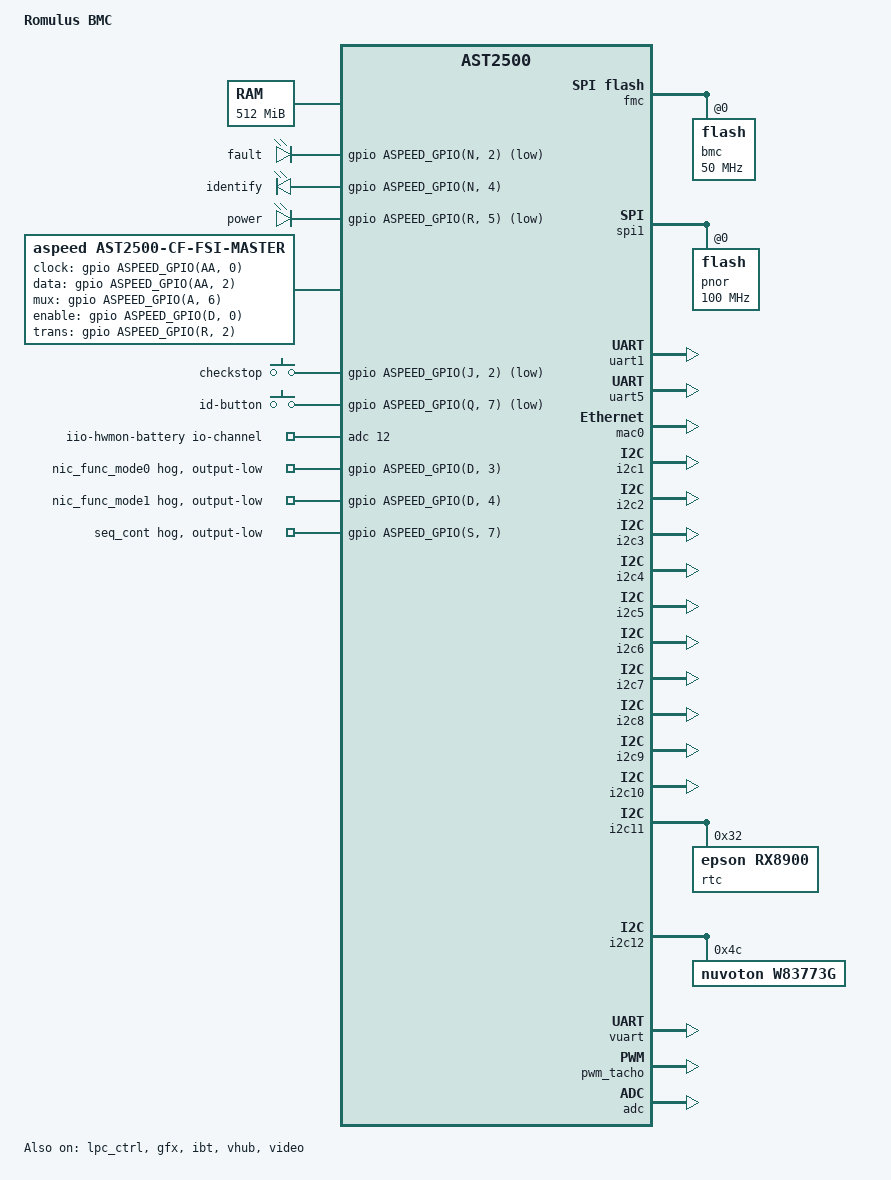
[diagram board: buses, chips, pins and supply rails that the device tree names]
// SPDX-License-Identifier: GPL-2.0+
/dts-v1/;
#include "aspeed-g5.dtsi"
#include <dt-bindings/gpio/aspeed-gpio.h>

/ {
	model = "Romulus BMC";
	compatible = "ibm,romulus-bmc", "aspeed,ast2500";

	chosen {
		stdout-path = &uart5;
		bootargs = "console=ttyS4,115200 earlycon";
	};

	memory@80000000 {
		reg = <0x80000000 0x20000000>;
	};

	reserved-memory {
		#address-cells = <1>;
		#size-cells = <1>;
		ranges;

		vga_memory: framebuffer@9f000000 {
			no-map;
			reg = <0x9f000000 0x01000000>; /* 16M */
		};

		flash_memory: region@98000000 {
			no-map;
			reg = <0x98000000 0x04000000>; /* 64M */
		};

		coldfire_memory: codefire_memory@9ef00000 {
			reg = <0x9ef00000 0x00100000>;
			no-map;
		};

		gfx_memory: framebuffer {
			size = <0x01000000>;
			alignment = <0x01000000>;
			compatible = "shared-dma-pool";
			reusable;
		};

		video_engine_memory: jpegbuffer {
			size = <0x02000000>;	/* 32M */
			alignment = <0x01000000>;
			compatible = "shared-dma-pool";
			reusable;
		};
	};

	leds {
		compatible = "gpio-leds";

		fault {
			gpios = <&gpio ASPEED_GPIO(N, 2) GPIO_ACTIVE_LOW>;
		};

		identify {
			gpios = <&gpio ASPEED_GPIO(N, 4) GPIO_ACTIVE_HIGH>;
		};

		power {
			gpios = <&gpio ASPEED_GPIO(R, 5) GPIO_ACTIVE_LOW>;
		};
	};

	fsi: gpio-fsi {
		compatible = "aspeed,ast2500-cf-fsi-master", "fsi-master";
		#address-cells = <2>;
		#size-cells = <0>;
		no-gpio-delays;

		memory-region = <&coldfire_memory>;
		aspeed,sram = <&sram>;
		aspeed,cvic = <&cvic>;

		clock-gpios = <&gpio ASPEED_GPIO(AA, 0) GPIO_ACTIVE_HIGH>;
		data-gpios = <&gpio ASPEED_GPIO(AA, 2) GPIO_ACTIVE_HIGH>;
		mux-gpios = <&gpio ASPEED_GPIO(A, 6) GPIO_ACTIVE_HIGH>;
		enable-gpios = <&gpio ASPEED_GPIO(D, 0) GPIO_ACTIVE_HIGH>;
		trans-gpios = <&gpio ASPEED_GPIO(R, 2) GPIO_ACTIVE_HIGH>;
	};

	gpio-keys {
		compatible = "gpio-keys";

		checkstop {
			label = "checkstop";
			gpios = <&gpio ASPEED_GPIO(J, 2) GPIO_ACTIVE_LOW>;
			linux,code = <ASPEED_GPIO(J, 2)>;
		};

		id-button {
			label = "id-button";
			gpios = <&gpio ASPEED_GPIO(Q, 7) GPIO_ACTIVE_LOW>;
			linux,code = <ASPEED_GPIO(Q, 7)>;
		};
	};

	iio-hwmon-battery {
		compatible = "iio-hwmon";
		io-channels = <&adc 12>;
	};
};

&fmc {
	status = "okay";
	flash@0 {
		status = "okay";
		m25p,fast-read;
		label = "bmc";
		spi-max-frequency = <50000000>;
#include "openbmc-flash-layout.dtsi"
	};
};

&spi1 {
	status = "okay";
	pinctrl-names = "default";
	pinctrl-0 = <&pinctrl_spi1_default>;

	flash@0 {
		status = "okay";
		m25p,fast-read;
		label = "pnor";
		spi-max-frequency = <100000000>;
	};
};

&lpc_ctrl {
	status = "okay";
	memory-region = <&flash_memory>;
	flash = <&spi1>;
};

&uart1 {
	/* Rear RS-232 connector */
	status = "okay";

	pinctrl-names = "default";
	pinctrl-0 = <&pinctrl_txd1_default
			&pinctrl_rxd1_default
			&pinctrl_nrts1_default
			&pinctrl_ndtr1_default
			&pinctrl_ndsr1_default
			&pinctrl_ncts1_default
			&pinctrl_ndcd1_default
			&pinctrl_nri1_default>;
};

&uart5 {
	status = "okay";
};

&mac0 {
	status = "okay";

	use-ncsi;

	pinctrl-names = "default";
	pinctrl-0 = <&pinctrl_rmii1_default>;
	clocks = <&syscon ASPEED_CLK_GATE_MAC1CLK>,
		 <&syscon ASPEED_CLK_MAC1RCLK>;
	clock-names = "MACCLK", "RCLK";
};

&i2c1 {
	status = "okay";
};

&i2c2 {
	status = "okay";
};

&i2c3 {
	status = "okay";
};

&i2c4 {
	status = "okay";
};

&i2c5 {
	status = "okay";
};

&i2c6 {
	/* PCIe slot 1 (x8) */
	status = "okay";
};

&i2c7 {
	/* PCIe slot 2 (x16) */
	status = "okay";
};

&i2c8 {
	/* PCIe slot 3 (x16) */
	status = "okay";
};

&i2c9 {
	/* PCIe slot 4 (x16) */
	status = "okay";
};

&i2c10 {
	/* PCIe slot 5 (x8) */
	status = "okay";
};

&i2c11 {
	status = "okay";

	rtc@32 {
		compatible = "epson,rx8900";
		reg = <0x32>;
	};
};

&i2c12 {
	status = "okay";

	w83773g@4c {
		compatible = "nuvoton,w83773g";
		reg = <0x4c>;
	};
};

&gpio {
	gpio-line-names =
	/*A0-A7*/	"","cfam-reset","","","","","fsi-mux","",
	/*B0-B7*/	"","","","","","","","",
	/*C0-C7*/	"","","","","","","","",
	/*D0-D7*/	"fsi-enable","","","nic_func_mode0","nic_func_mode1","","","",
	/*E0-E7*/	"","","","","","","","",
	/*F0-F7*/	"","","","","","","","",
	/*G0-G7*/	"","","","","","","","",
	/*H0-H7*/	"","","","","","","","",
	/*I0-I7*/	"","","","power-button","","","","",
	/*J0-J7*/	"","","checkstop","","","","","",
	/*K0-K7*/	"","","","","","","","",
	/*L0-L7*/	"","","","","","","","",
	/*M0-M7*/	"","","","","","","","",
	/*N0-N7*/	"","","led-fault","",
				"led-identify","","","",
	/*O0-O7*/	"","","","","","","","",
	/*P0-P7*/	"","","","","","","","",
	/*Q0-Q7*/	"","","","","","","","id-button",
	/*R0-R7*/	"","","fsi-trans","","","led-power","","",
	/*S0-S7*/	"","","","","","","","seq_cont",
	/*T0-T7*/	"","","","","","","","",
	/*U0-U7*/	"","","","","","","","",
	/*V0-V7*/	"","","","","","","","",
	/*W0-W7*/	"","","","","","","","",
	/*X0-X7*/	"","","","","","","","",
	/*Y0-Y7*/	"","","","","","","","",
	/*Z0-Z7*/	"","","","","","","","",
	/*AA0-AA7*/	"fsi-clock","","fsi-data","","","","","",
	/*AB0-AB7*/	"","","","","","","","",
	/*AC0-AC7*/	"","","","","","","","";

	nic_func_mode0 {
		gpio-hog;
		gpios = <ASPEED_GPIO(D, 3) GPIO_ACTIVE_HIGH>;
		output-low;
	};
	nic_func_mode1 {
		gpio-hog;
		gpios = <ASPEED_GPIO(D, 4) GPIO_ACTIVE_HIGH>;
		output-low;
	};
	seq_cont {
		gpio-hog;
		gpios = <ASPEED_GPIO(S, 7) GPIO_ACTIVE_HIGH>;
		output-low;
	};
};

&vuart {
	status = "okay";
};

&gfx {
	status = "okay";
	memory-region = <&gfx_memory>;
};

&pinctrl {
	aspeed,external-nodes = <&gfx &lhc>;
};

&pwm_tacho {
	status = "okay";
	pinctrl-names = "default";
	pinctrl-0 = <&pinctrl_pwm0_default &pinctrl_pwm1_default>;

	fan@0 {
		reg = <0x00>;
		aspeed,fan-tach-ch = /bits/ 8 <0x08>;
	};

	fan@1 {
		reg = <0x00>;
		aspeed,fan-tach-ch = /bits/ 8 <0x09>;
	};

	fan@2 {
		reg = <0x01>;
		aspeed,fan-tach-ch = /bits/ 8 <0x0a>;
	};

	fan@3 {
		reg = <0x01>;
		aspeed,fan-tach-ch = /bits/ 8 <0x0b>;
	};

	fan@4 {
		reg = <0x00>;
		aspeed,fan-tach-ch = /bits/ 8 <0x0c>;
	};

	fan@5 {
		reg = <0x00>;
		aspeed,fan-tach-ch = /bits/ 8 <0x0d>;
	};

	fan@6 {
		reg = <0x01>;
		aspeed,fan-tach-ch = /bits/ 8 <0x0e>;
	};
};

&ibt {
	status = "okay";
};

&vhub {
	status = "okay";
};

&adc {
	status = "okay";
};

&video {
	status = "okay";
	memory-region = <&video_engine_memory>;
};

#include "ibm-power9-dual.dtsi"
